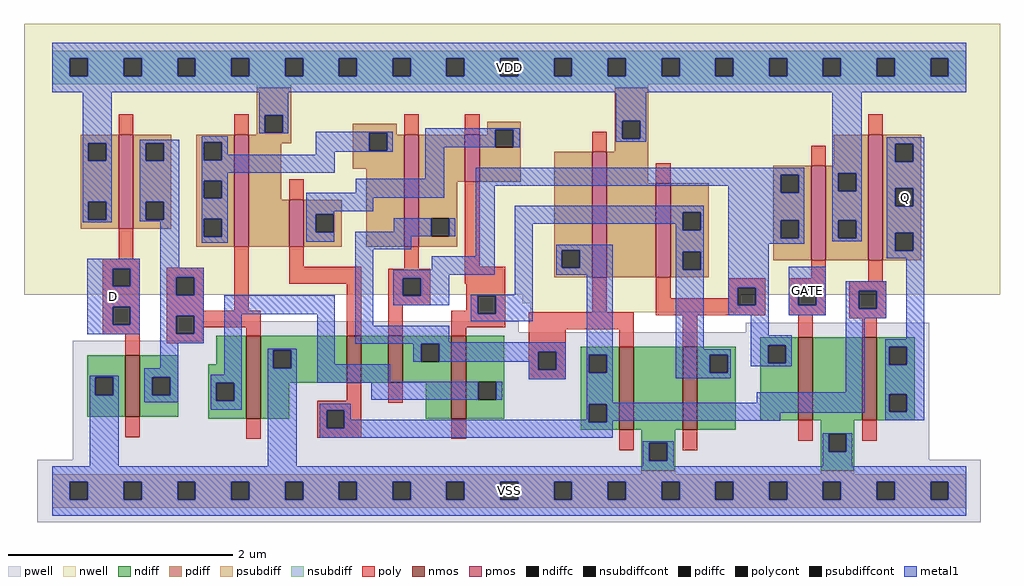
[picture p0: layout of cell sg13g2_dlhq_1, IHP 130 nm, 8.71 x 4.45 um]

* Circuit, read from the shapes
.subckt sg13g2_dlhq_1 GATE Q VDD VSS D
XM1 n1 D VSS VSS sg13_lv_nmos w=0.55u l=0.13u
XM2 VSS n1 n2 VSS sg13_lv_nmos w=0.74u l=0.13u
XM3 n3 n4 VSS VSS sg13_lv_nmos w=0.42u l=0.13u
XM4 n5 n6 n3 VSS sg13_lv_nmos w=0.42u l=0.13u
XM5 n2 n7 n5 VSS sg13_lv_nmos w=0.74u l=0.13u
XM6 VSS n5 n4 VSS sg13_lv_nmos w=0.74u l=0.13u
XM7 n7 n6 VSS VSS sg13_lv_nmos w=0.74u l=0.13u
XM8 VSS GATE n6 VSS sg13_lv_nmos w=0.74u l=0.13u
XM9 Q n4 VSS VSS sg13_lv_nmos w=0.74u l=0.13u
XM10 n1 D VDD VDD sg13_lv_pmos w=0.84u l=0.13u
XM11 VDD n1 n8 VDD sg13_lv_pmos w=1u l=0.13u
XM12 n9 n4 VDD VDD sg13_lv_pmos w=0.42u l=0.13u
XM13 n5 n6 n8 VDD sg13_lv_pmos w=1u l=0.13u
XM14 n9 n7 n5 VDD sg13_lv_pmos w=0.42u l=0.13u
XM15 VDD n5 n4 VDD sg13_lv_pmos w=1.12u l=0.13u
XM16 n7 n6 VDD VDD sg13_lv_pmos w=0.84u l=0.13u
XM17 VDD GATE n6 VDD sg13_lv_pmos w=0.84u l=0.13u
XM18 Q n4 VDD VDD sg13_lv_pmos w=1.12u l=0.13u
.ends

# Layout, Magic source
magic
tech ihp-sg13g2
magscale 1 2
<< nwell >>
rect -50 350 1692 834
rect 839 335 1228 350
rect 854 326 1228 335
rect 854 319 1221 326
<< pwell >>
rect 267 283 833 303
rect 1238 283 1566 300
rect 267 268 1566 283
rect 37 56 1566 268
rect -26 -56 1658 56
<< nmos >>
rect 131 132 157 242
rect 347 129 373 277
rect 526 193 552 277
rect 600 193 626 277
rect 713 129 739 277
rect 1012 109 1038 257
rect 1126 109 1152 257
rect 1332 126 1358 274
rect 1446 126 1472 274
<< pmos >>
rect 119 468 145 636
rect 325 436 351 636
rect 423 436 449 520
rect 629 436 655 636
rect 737 552 763 636
rect 964 381 990 605
rect 1078 381 1104 549
rect 1355 412 1381 580
rect 1457 412 1483 636
<< ndiff >>
rect 63 203 131 242
rect 63 171 77 203
rect 109 171 131 203
rect 63 132 131 171
rect 157 203 225 242
rect 293 226 347 277
rect 157 171 179 203
rect 211 171 225 203
rect 157 132 225 171
rect 279 193 347 226
rect 279 161 293 193
rect 325 161 347 193
rect 279 129 347 161
rect 373 251 526 277
rect 373 219 395 251
rect 427 219 526 251
rect 373 193 526 219
rect 552 193 600 277
rect 626 263 713 277
rect 626 231 659 263
rect 691 231 713 263
rect 626 193 713 231
rect 373 129 423 193
rect 667 129 713 193
rect 739 195 807 277
rect 1264 260 1332 274
rect 944 243 1012 257
rect 944 211 958 243
rect 990 211 1012 243
rect 739 163 761 195
rect 793 163 807 195
rect 739 129 807 163
rect 944 155 1012 211
rect 944 123 958 155
rect 990 123 1012 155
rect 944 109 1012 123
rect 1038 109 1126 257
rect 1152 243 1220 257
rect 1152 211 1174 243
rect 1206 211 1220 243
rect 1152 109 1220 211
rect 1264 228 1278 260
rect 1310 228 1332 260
rect 1264 126 1332 228
rect 1358 126 1446 274
rect 1472 257 1540 274
rect 1472 225 1494 257
rect 1526 225 1540 257
rect 1472 173 1540 225
rect 1472 141 1494 173
rect 1526 141 1540 173
rect 1472 126 1540 141
rect 1052 86 1112 109
rect 1052 54 1066 86
rect 1098 54 1112 86
rect 1372 102 1432 126
rect 1052 36 1112 54
rect 1372 70 1386 102
rect 1418 70 1432 102
rect 1372 36 1432 70
<< pdiff >>
rect 365 671 427 720
rect 365 639 380 671
rect 412 639 427 671
rect 365 636 427 639
rect 51 621 119 636
rect 51 589 65 621
rect 97 589 119 621
rect 51 516 119 589
rect 51 484 65 516
rect 97 484 119 516
rect 51 468 119 484
rect 145 621 213 636
rect 145 589 167 621
rect 199 589 213 621
rect 145 516 213 589
rect 145 484 167 516
rect 199 484 213 516
rect 145 468 213 484
rect 257 622 325 636
rect 257 590 271 622
rect 303 590 325 622
rect 257 554 325 590
rect 257 522 271 554
rect 303 522 325 554
rect 257 486 325 522
rect 257 454 271 486
rect 303 454 325 486
rect 257 436 325 454
rect 351 621 427 636
rect 537 639 615 655
rect 351 520 409 621
rect 537 607 566 639
rect 598 636 615 639
rect 1004 661 1064 720
rect 777 645 837 659
rect 777 636 791 645
rect 598 607 629 636
rect 537 575 629 607
rect 351 436 423 520
rect 449 494 517 520
rect 449 462 471 494
rect 503 462 517 494
rect 449 436 517 462
rect 561 436 629 575
rect 655 552 737 636
rect 763 613 791 636
rect 823 613 837 645
rect 763 552 837 613
rect 1004 629 1018 661
rect 1050 629 1064 661
rect 1004 605 1064 629
rect 655 487 723 552
rect 655 455 677 487
rect 709 455 723 487
rect 655 436 723 455
rect 896 430 964 605
rect 896 398 910 430
rect 942 398 964 430
rect 896 381 964 398
rect 990 549 1064 605
rect 1395 580 1457 636
rect 1287 564 1355 580
rect 990 381 1078 549
rect 1104 497 1172 549
rect 1104 465 1126 497
rect 1158 465 1172 497
rect 1104 427 1172 465
rect 1104 395 1126 427
rect 1158 395 1172 427
rect 1287 532 1301 564
rect 1333 532 1355 564
rect 1287 483 1355 532
rect 1287 451 1301 483
rect 1333 451 1355 483
rect 1287 412 1355 451
rect 1381 567 1457 580
rect 1381 535 1403 567
rect 1435 535 1457 567
rect 1381 483 1457 535
rect 1381 451 1403 483
rect 1435 451 1457 483
rect 1381 412 1457 451
rect 1483 620 1551 636
rect 1483 588 1505 620
rect 1537 588 1551 620
rect 1483 540 1551 588
rect 1483 508 1505 540
rect 1537 508 1551 540
rect 1483 461 1551 508
rect 1483 429 1505 461
rect 1537 429 1551 461
rect 1483 412 1551 429
rect 1104 381 1172 395
<< ndiffc >>
rect 77 171 109 203
rect 179 171 211 203
rect 293 161 325 193
rect 395 219 427 251
rect 659 231 691 263
rect 958 211 990 243
rect 761 163 793 195
rect 958 123 990 155
rect 1174 211 1206 243
rect 1278 228 1310 260
rect 1494 225 1526 257
rect 1494 141 1526 173
rect 1066 54 1098 86
rect 1386 70 1418 102
<< pdiffc >>
rect 380 639 412 671
rect 65 589 97 621
rect 65 484 97 516
rect 167 589 199 621
rect 167 484 199 516
rect 271 590 303 622
rect 271 522 303 554
rect 271 454 303 486
rect 566 607 598 639
rect 471 462 503 494
rect 791 613 823 645
rect 1018 629 1050 661
rect 677 455 709 487
rect 910 398 942 430
rect 1126 465 1158 497
rect 1126 395 1158 427
rect 1301 532 1333 564
rect 1301 451 1333 483
rect 1403 535 1435 567
rect 1403 451 1435 483
rect 1505 588 1537 620
rect 1505 508 1537 540
rect 1505 429 1537 461
<< psubdiff >>
rect 1052 30 1112 36
rect 1372 30 1432 36
rect 0 16 1632 30
rect 0 -16 32 16
rect 64 -16 128 16
rect 160 -16 224 16
rect 256 -16 320 16
rect 352 -16 416 16
rect 448 -16 512 16
rect 544 -16 608 16
rect 640 -16 704 16
rect 736 -16 800 16
rect 832 -16 896 16
rect 928 -16 992 16
rect 1024 -16 1088 16
rect 1120 -16 1184 16
rect 1216 -16 1280 16
rect 1312 -16 1376 16
rect 1408 -16 1472 16
rect 1504 -16 1568 16
rect 1600 -16 1632 16
rect 0 -30 1632 -16
<< nsubdiff >>
rect 0 772 1632 786
rect 0 740 32 772
rect 64 740 128 772
rect 160 740 224 772
rect 256 740 320 772
rect 352 740 416 772
rect 448 740 512 772
rect 544 740 608 772
rect 640 740 704 772
rect 736 740 800 772
rect 832 740 896 772
rect 928 740 992 772
rect 1024 740 1088 772
rect 1120 740 1184 772
rect 1216 740 1280 772
rect 1312 740 1376 772
rect 1408 740 1472 772
rect 1504 740 1568 772
rect 1600 740 1632 772
rect 0 726 1632 740
rect 365 720 427 726
rect 1004 720 1064 726
<< psubdiffcont >>
rect 32 -16 64 16
rect 128 -16 160 16
rect 224 -16 256 16
rect 320 -16 352 16
rect 416 -16 448 16
rect 512 -16 544 16
rect 608 -16 640 16
rect 704 -16 736 16
rect 800 -16 832 16
rect 896 -16 928 16
rect 992 -16 1024 16
rect 1088 -16 1120 16
rect 1184 -16 1216 16
rect 1280 -16 1312 16
rect 1376 -16 1408 16
rect 1472 -16 1504 16
rect 1568 -16 1600 16
<< nsubdiffcont >>
rect 32 740 64 772
rect 128 740 160 772
rect 224 740 256 772
rect 320 740 352 772
rect 416 740 448 772
rect 512 740 544 772
rect 608 740 640 772
rect 704 740 736 772
rect 800 740 832 772
rect 896 740 928 772
rect 992 740 1024 772
rect 1088 740 1120 772
rect 1184 740 1216 772
rect 1280 740 1312 772
rect 1376 740 1408 772
rect 1472 740 1504 772
rect 1568 740 1600 772
<< poly >>
rect 119 636 145 672
rect 325 636 351 672
rect 119 414 145 468
rect 629 636 655 672
rect 737 636 763 672
rect 423 520 449 556
rect 964 605 990 641
rect 1457 636 1483 672
rect 91 397 157 414
rect 91 365 108 397
rect 140 365 157 397
rect 91 329 157 365
rect 91 297 108 329
rect 140 297 157 329
rect 91 280 157 297
rect 131 242 157 280
rect 205 381 271 398
rect 205 349 222 381
rect 254 349 271 381
rect 205 322 271 349
rect 325 322 351 436
rect 423 400 449 436
rect 423 370 552 400
rect 629 397 655 436
rect 737 400 763 552
rect 205 313 373 322
rect 205 281 222 313
rect 254 292 373 313
rect 254 281 271 292
rect 205 264 271 281
rect 347 277 373 292
rect 526 277 552 370
rect 600 380 675 397
rect 600 348 626 380
rect 658 348 675 380
rect 737 370 809 400
rect 1078 549 1104 585
rect 1355 580 1381 616
rect 600 331 675 348
rect 739 348 809 370
rect 600 277 626 331
rect 739 322 760 348
rect 713 316 760 322
rect 792 316 809 348
rect 964 319 990 381
rect 1078 344 1104 381
rect 1355 380 1381 412
rect 1207 363 1273 380
rect 1207 344 1224 363
rect 1078 331 1224 344
rect 1256 331 1273 363
rect 713 292 809 316
rect 713 277 739 292
rect 851 289 1038 319
rect 1078 314 1273 331
rect 1315 363 1381 380
rect 1457 374 1483 412
rect 1315 331 1332 363
rect 1364 331 1381 363
rect 1315 314 1381 331
rect 1423 357 1489 374
rect 1423 325 1440 357
rect 1472 325 1489 357
rect 131 96 157 132
rect 526 161 552 193
rect 473 144 552 161
rect 600 157 626 193
rect 347 93 373 129
rect 473 112 490 144
rect 522 112 552 144
rect 851 248 917 289
rect 1012 257 1038 289
rect 1126 257 1152 314
rect 1332 274 1358 314
rect 1423 308 1489 325
rect 1446 274 1472 308
rect 851 216 868 248
rect 900 216 917 248
rect 851 199 917 216
rect 473 95 552 112
rect 713 93 739 129
rect 1012 73 1038 109
rect 1126 73 1152 109
rect 1332 90 1358 126
rect 1446 90 1472 126
<< polycont >>
rect 108 365 140 397
rect 108 297 140 329
rect 222 349 254 381
rect 222 281 254 313
rect 626 348 658 380
rect 760 316 792 348
rect 1224 331 1256 363
rect 1332 331 1364 363
rect 1440 325 1472 357
rect 490 112 522 144
rect 868 216 900 248
<< metal1 >>
rect 0 772 1632 800
rect 0 740 32 772
rect 64 740 128 772
rect 160 740 224 772
rect 256 740 320 772
rect 352 740 416 772
rect 448 740 512 772
rect 544 740 608 772
rect 640 740 704 772
rect 736 740 800 772
rect 832 740 896 772
rect 928 740 992 772
rect 1024 740 1088 772
rect 1120 740 1184 772
rect 1216 740 1280 772
rect 1312 740 1376 772
rect 1408 740 1472 772
rect 1504 740 1568 772
rect 1600 740 1632 772
rect 0 712 1632 740
rect 55 621 107 712
rect 370 671 422 712
rect 370 639 380 671
rect 412 639 422 671
rect 1006 661 1061 712
rect 666 645 835 647
rect 370 638 422 639
rect 471 639 608 641
rect 55 589 65 621
rect 97 589 107 621
rect 55 516 107 589
rect 55 484 65 516
rect 97 484 107 516
rect 55 480 107 484
rect 157 621 227 627
rect 157 589 167 621
rect 199 589 227 621
rect 157 516 227 589
rect 157 484 167 516
rect 199 484 227 516
rect 157 481 227 484
rect 63 397 157 414
rect 63 365 108 397
rect 140 365 157 397
rect 63 329 157 365
rect 63 297 108 329
rect 140 297 157 329
rect 63 280 157 297
rect 193 398 227 481
rect 267 622 314 633
rect 267 590 271 622
rect 303 600 314 622
rect 471 607 566 639
rect 598 607 608 639
rect 471 605 608 607
rect 666 613 791 645
rect 823 613 835 645
rect 1006 629 1018 661
rect 1050 629 1061 661
rect 1006 623 1061 629
rect 471 600 505 605
rect 303 590 505 600
rect 267 568 505 590
rect 267 554 314 568
rect 666 557 700 613
rect 267 522 271 554
rect 303 522 314 554
rect 542 532 700 557
rect 267 486 314 522
rect 267 454 271 486
rect 303 454 314 486
rect 267 443 314 454
rect 454 523 700 532
rect 756 564 1343 577
rect 756 545 1301 564
rect 454 499 573 523
rect 454 494 504 499
rect 454 462 471 494
rect 503 462 504 494
rect 610 463 677 487
rect 454 445 504 462
rect 541 455 677 463
rect 709 455 720 487
rect 541 431 641 455
rect 193 381 271 398
rect 193 349 222 381
rect 254 349 271 381
rect 193 313 271 349
rect 193 281 222 313
rect 254 281 271 313
rect 193 264 271 281
rect 307 315 505 349
rect 193 219 225 264
rect 67 203 119 206
rect 67 171 77 203
rect 109 171 119 203
rect 67 44 119 171
rect 165 203 225 219
rect 307 207 339 315
rect 165 171 179 203
rect 211 171 225 203
rect 165 158 225 171
rect 283 193 339 207
rect 283 161 293 193
rect 325 161 339 193
rect 283 145 339 161
rect 385 251 437 254
rect 385 219 395 251
rect 427 219 437 251
rect 385 44 437 219
rect 473 226 505 315
rect 541 295 573 431
rect 756 419 790 545
rect 1207 532 1301 545
rect 1333 532 1343 564
rect 678 395 790 419
rect 609 386 790 395
rect 826 497 1163 509
rect 826 477 1126 497
rect 609 380 709 386
rect 609 348 626 380
rect 658 348 709 380
rect 826 350 858 477
rect 1113 465 1126 477
rect 1158 465 1163 497
rect 900 430 1001 439
rect 900 398 910 430
rect 942 398 1001 430
rect 900 386 1001 398
rect 609 331 709 348
rect 747 348 858 350
rect 747 316 760 348
rect 792 316 858 348
rect 747 303 858 316
rect 541 265 709 295
rect 541 263 917 265
rect 645 231 659 263
rect 691 248 917 263
rect 691 231 868 248
rect 473 195 604 226
rect 851 216 868 231
rect 900 216 917 248
rect 851 199 917 216
rect 954 243 1001 386
rect 954 211 958 243
rect 990 211 1001 243
rect 473 193 761 195
rect 570 163 761 193
rect 793 163 804 195
rect 954 157 1001 211
rect 1113 427 1163 465
rect 1113 395 1126 427
rect 1158 395 1163 427
rect 1113 253 1163 395
rect 1207 483 1343 532
rect 1207 451 1301 483
rect 1333 451 1343 483
rect 1207 441 1343 451
rect 1393 567 1445 712
rect 1393 535 1403 567
rect 1435 535 1445 567
rect 1393 483 1445 535
rect 1393 451 1403 483
rect 1435 451 1445 483
rect 1393 446 1445 451
rect 1490 620 1557 631
rect 1490 588 1505 620
rect 1537 588 1557 620
rect 1490 540 1557 588
rect 1490 508 1505 540
rect 1537 508 1557 540
rect 1490 461 1557 508
rect 1207 363 1279 441
rect 1490 429 1505 461
rect 1537 429 1557 461
rect 1490 415 1557 429
rect 1207 331 1224 363
rect 1256 331 1279 363
rect 1207 314 1279 331
rect 1315 363 1381 400
rect 1315 331 1332 363
rect 1364 331 1381 363
rect 1315 314 1381 331
rect 1417 357 1489 374
rect 1417 325 1440 357
rect 1472 325 1489 357
rect 1247 278 1279 314
rect 1417 308 1489 325
rect 1247 260 1320 278
rect 1113 243 1211 253
rect 1113 211 1174 243
rect 1206 211 1211 243
rect 1247 228 1278 260
rect 1310 228 1320 260
rect 1247 223 1320 228
rect 1113 201 1211 211
rect 1417 176 1451 308
rect 1525 271 1557 415
rect 1258 157 1451 176
rect 478 144 533 156
rect 478 112 490 144
rect 522 127 533 144
rect 954 155 1451 157
rect 954 127 958 155
rect 522 123 958 127
rect 990 140 1451 155
rect 1487 257 1557 271
rect 1487 225 1494 257
rect 1526 225 1557 257
rect 1487 173 1557 225
rect 1487 141 1494 173
rect 1526 141 1557 173
rect 990 125 1300 140
rect 1487 126 1557 141
rect 990 123 1001 125
rect 522 112 1001 123
rect 478 95 1001 112
rect 1376 102 1428 103
rect 1054 86 1110 89
rect 1054 54 1066 86
rect 1098 54 1110 86
rect 1054 44 1110 54
rect 1376 70 1386 102
rect 1418 70 1428 102
rect 1376 44 1428 70
rect 0 16 1632 44
rect 0 -16 32 16
rect 64 -16 128 16
rect 160 -16 224 16
rect 256 -16 320 16
rect 352 -16 416 16
rect 448 -16 512 16
rect 544 -16 608 16
rect 640 -16 704 16
rect 736 -16 800 16
rect 832 -16 896 16
rect 928 -16 992 16
rect 1024 -16 1088 16
rect 1120 -16 1184 16
rect 1216 -16 1280 16
rect 1312 -16 1376 16
rect 1408 -16 1472 16
rect 1504 -16 1568 16
rect 1600 -16 1632 16
rect 0 -44 1632 -16
<< labels >>
flabel metal1 s 1315 314 1381 400 0 FreeSans 400 0 0 0 GATE
port 2 nsew
flabel metal1 s 1490 415 1557 631 0 FreeSans 400 0 0 0 Q
port 3 nsew
flabel metal1 s 0 712 1632 800 0 FreeSans 400 0 0 0 VDD
port 4 nsew
flabel metal1 s 0 -44 1632 44 0 FreeSans 400 0 0 0 VSS
port 5 nsew
flabel metal1 s 63 280 157 414 0 FreeSans 400 0 0 0 D
port 6 nsew
<< properties >>
string FIXED_BBOX 0 0 1632 756
<< end >>
